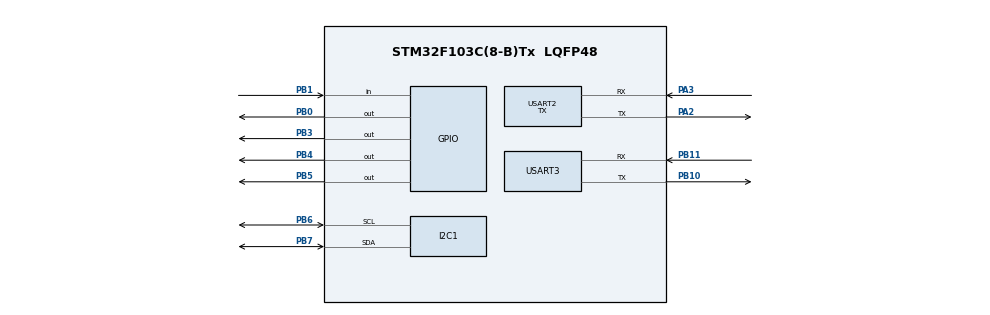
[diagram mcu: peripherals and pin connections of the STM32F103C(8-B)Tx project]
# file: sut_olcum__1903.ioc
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Mcu.Family=STM32F1
Mcu.Name=STM32F103C(8-B)Tx
Mcu.Package=LQFP48
NVIC.PriorityGroup=NVIC_PRIORITYGROUP_4
NVIC.USART3_IRQn=true\:0\:0\:false\:false\:true\:true\:true\:true
PA13.Mode=Serial_Wire
PA13.Signal=SYS_JTMS-SWDIO
PA14.Mode=Serial_Wire
PA14.Signal=SYS_JTCK-SWCLK
PA2.Mode=Asynchronous
PA2.Signal=USART2_TX
PA3.Mode=Asynchronous
PA3.Signal=USART2_RX
PB0.Signal=GPIO_Output
PB1.GPIO_Mode=GPIO_MODE_INPUT
PB1.GPIO_PuPd=GPIO_PULLDOWN
PB1.Signal=GPIO_Input
PB10.Mode=Asynchronous
PB10.Signal=USART3_TX
PB11.Mode=Asynchronous
PB11.Signal=USART3_RX
PB3.Signal=GPIO_Output
PB4.Signal=GPIO_Output
PB5.Signal=GPIO_Output
PB6.Mode=I2C
PB6.Signal=I2C1_SCL
PB7.Mode=I2C
PB7.Signal=I2C1_SDA
PD0-OSC_IN.Mode=HSE-External-Oscillator
PD0-OSC_IN.Signal=RCC_OSC_IN
PD1-OSC_OUT.Mode=HSE-External-Oscillator
PD1-OSC_OUT.Signal=RCC_OSC_OUT
ProjectManager.HeapSize=0x200
ProjectManager.StackSize=0x400
ProjectManager.TargetToolchain=STM32CubeIDE
RCC.APB1Freq_Value=8000000
RCC.APB2Freq_Value=8000000
USART2.Mode=MODE_TX
USART2.VirtualMode=VM_ASYNC
USART3.VirtualMode=VM_ASYNC
board=custom

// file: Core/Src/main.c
/* USER CODE BEGIN Header */
/**
  ******************************************************************************
  * @file           : main.c
  * @brief          : Main program body
  ******************************************************************************
  * @attention
  *
  * Copyright (c) 2025 STMicroelectronics.
  * All rights reserved.
  *
  * This software is licensed under terms that can be found in the LICENSE file
  * in the root directory of this software component.
  * If no LICENSE file comes with this software, it is provided AS-IS.
  *
  ******************************************************************************
  */
/* USER CODE END Header */
#include "main.h"

/* USER CODE BEGIN Includes */
#include "i2c_lcd.h"
#include "stdio.h"
#include <string.h>
/* USER CODE END Includes */

/* USER CODE BEGIN PTD */

typedef enum{
	LOW,
	HIGH
}POL_t;

typedef enum{
	False,
	True
}BOOL_t;

uint8_t RxBufTemp[2]; //uart gelen byte
uint8_t RxBuf[30]; //rfid anten gelen eid
uint8_t RxIndex=0; //uart index
uint8_t CalibrateIndex=0; //calibre verisi index
uint8_t PcReq[2]; //pc sorgusu
char kupebuffer[14];
/* USER CODE END PTD */

I2C_HandleTypeDef hi2c1;

UART_HandleTypeDef huart2;
UART_HandleTypeDef huart3;

/* USER CODE BEGIN PV */
I2C_LCD_HandleTypeDef lcd1;
/* USER CODE END PV */

void SystemClock_Config(void);
static void MX_GPIO_Init(void);
static void MX_I2C1_Init(void);
static void MX_USART2_UART_Init(void);
static void MX_USART3_UART_Init(void);
/* USER CODE BEGIN PFP */
void HAL_UART_RxCpltCallback(UART_HandleTypeDef *huart)
{

        if(huart == &huart3)
        {
        	RxBuf[RxIndex]=RxBufTemp[0];
        			HAL_UART_Receive_IT(&huart3, RxBufTemp, 1); //interrupt yeniden aktif edildi
        			if(RxIndex>0 && RxBuf[RxIndex]==35 && RxBuf[RxIndex-1]==119)
        			{
        				RxBuf[RxIndex]=0;
        				RxBuf[RxIndex-1]=0;
        				RxBuf[0]=119;
        				RxBuf[1]=35;
        				RxIndex=2;
        				return;
        			}
        			RxIndex++;
	}
}
/* USER CODE END PFP */

int main(void)
{

  /* USER CODE BEGIN 1 */

	  uint8_t sensorDurumu = 0;
	  uint8_t oncekiSensorDurumu = 0;
	  unsigned long baslangicZamani = 0; // Su akışı başladığında zamanı kaydet
	  int suAktigiSure = 0;    // Su akışı olduğu süre boyunca geçen süre
	  int16_t toplamSure = 0;      // İlk su akışı başladığı andan itibaren geçen toplam süre
	  float kalibrasyon = 57;
	  uint8_t suAkiyor = 0;
	  int toplamSuMiktari = 0;
	  uint8_t ilkSuBasladi = 0; // İlk su akışı başladı mı?
	  unsigned long ilkSuBaslangicZamani = 0;
	  char buffer[50];
//	  uint16_t serialData[2];

  /* USER CODE END 1 */

  /* MCU Configuration--------------------------------------------------------*/

  /* Reset of all peripherals, Initializes the Flash interface and the Systick. */
  HAL_Init();

  /* Configure the system clock */
  SystemClock_Config();

  /* Initialize all configured peripherals */
  MX_GPIO_Init();
  MX_I2C1_Init();
  MX_USART2_UART_Init();
  MX_USART3_UART_Init();
  HAL_UART_Receive_IT(&huart3, RxBufTemp, 1);
  /* USER CODE BEGIN 2 */

  lcd1.hi2c = &hi2c1;
  lcd1.address = 0x4E;
  /*  lcd_init(&lcd1);

  lcd_clear(&lcd1);
  lcd_gotoxy(&lcd1, 0, 0);
  lcd_puts(&lcd1, "Sistem basladi");
  lcd_gotoxy(&lcd1, 0, 1);
  lcd_puts(&lcd1,"Toplam : 0 ml");
  lcd_gotoxy(&lcd1, 0, 2);
  lcd_puts(&lcd1,"Kalibrasyon : ");
  sprintf(buffer,"%.2f", kalibrasyon);
  lcd_puts(&lcd1,buffer);
  lcd_gotoxy(&lcd1,0, 3);
  lcd_puts(&lcd1, "Zaman :     sn");
  HAL_Delay(100);
*/
  HAL_GPIO_WritePin(GPIOB, GPIO_PIN_5,LOW);
  HAL_GPIO_WritePin(GPIOB, GPIO_PIN_4,LOW);
  HAL_GPIO_WritePin(GPIOB, GPIO_PIN_3,HIGH);
  HAL_GPIO_WritePin(GPIOB, GPIO_PIN_0,LOW);
  /* USER CODE END 2 */

  /* Infinite loop */
  while (1)
  {

    /* USER CODE BEGIN 3 */

	  sensorDurumu = HAL_GPIO_ReadPin(GPIOB, GPIO_PIN_1);

	  if(( sensorDurumu == HIGH ) && ( oncekiSensorDurumu == LOW) ){
//		  lcd_clear(&lcd1);
//		  lcd_puts(&lcd1, "Su Geliyor...");
		  baslangicZamani = HAL_GetTick();
		  suAkiyor = True;

		  if (!ilkSuBasladi) {
			 ilkSuBasladi = True;
			 ilkSuBaslangicZamani = HAL_GetTick(); // İlk su akışı başladığı andaki zamanı kaydet
		   }

//		  lcd_clear(&lcd1);
//		  lcd_puts(&lcd1, "Su Geliyor...");
//		  HAL_Delay(50);
		  HAL_GPIO_WritePin(GPIOB, GPIO_PIN_5,LOW);
		  HAL_GPIO_WritePin(GPIOB, GPIO_PIN_4,HIGH);
		  HAL_GPIO_WritePin(GPIOB, GPIO_PIN_3,LOW);
		  HAL_GPIO_WritePin(GPIOB, GPIO_PIN_0,LOW);
		  HAL_Delay(50);
		}

	  if (sensorDurumu == LOW && oncekiSensorDurumu == HIGH) {
	    if (suAkiyor) {
	      suAktigiSure += (HAL_GetTick() - baslangicZamani) / 1000; // Su akış süresini güncelle
	      HAL_Delay(50);

		  HAL_GPIO_WritePin(GPIOB, GPIO_PIN_5,HIGH);
		  HAL_GPIO_WritePin(GPIOB, GPIO_PIN_4,LOW);
		  HAL_GPIO_WritePin(GPIOB, GPIO_PIN_3,LOW);
		  HAL_GPIO_WritePin(GPIOB, GPIO_PIN_0,HIGH);
		  HAL_Delay(50);

	      unsigned long suMiktari = ((HAL_GetTick() - baslangicZamani) / 1000) * kalibrasyon;
	      toplamSuMiktari += suMiktari;

//		  UART SPESIFIK VERI OZELLIKLERI

//	      huart2.Instance = USART2;
//	      huart2.Init.BaudRate = 115200;
//	      huart2.Init.WordLength = UART_WORDLENGTH_8B;
//	      huart2.Init.StopBits = UART_STOPBITS_1;
//	      huart2.Init.Parity = UART_PARITY_NONE;
//	      huart2.Init.Mode = UART_MODE_TX_RX; // Hem TX hem RX aktif
//	      Alternatif: Binary Veri Gönderme
//	      uint8_t serialBuffer[4];
//	      serialBuffer[0] = (toplamSuMiktari >> 8) & 0xFF; // High byte
//	      serialBuffer[1] = toplamSuMiktari & 0xFF;        // Low byte
//	      serialBuffer[2] = (suAktigiSure >> 8) & 0xFF;    // High byte
//	      serialBuffer[3] = suAktigiSure & 0xFF;           // Low byte
//	      HAL_UART_Transmit(&huart2, serialBuffer, 4, HAL_MAX_DELAY);

	      char serialBuffer[50];

	      kupebuffer[0]= RxBuf[0];
	      kupebuffer[1]= RxBuf[1];
	      kupebuffer[2]= RxBuf[2];
	      kupebuffer[3]= RxBuf[3];
	      kupebuffer[4]= RxBuf[4];
	      kupebuffer[5]= RxBuf[5];
	      kupebuffer[6]= RxBuf[6];
	      kupebuffer[7]= RxBuf[7];
	      kupebuffer[8]= RxBuf[8];
	      kupebuffer[9]= RxBuf[9];
	      kupebuffer[10]= RxBuf[10];
	      kupebuffer[11]= RxBuf[11];
	      kupebuffer[12]= RxBuf[12];
	      kupebuffer[13]= RxBuf[13];

	      HAL_Delay(50);

//	      for(int i = 0; i < 14; i++) {
//	          kupebuffer[i] = RxBuf[i];
//	      }

	      // RxBuf'ın ilk 14 byte'ını temizle
//	      for(int i = 0; i < 14; i++) {
//	          RxBuf[i] = 0;
//	      }

	      // Veya daha kısa yolu:
//	      memcpy(kupebuffer, RxBuf, 14); // Kopyalama
//	      memset(RxBuf, 0, 14);          // Temizleme

	      sprintf(serialBuffer,
	          "Toplam: %d ml, Sure: %d sn,\nRFID: "
	          "%02X %02X %02X %02X %02X %02X %02X %02X %02X %02X %02X %02X %02X %02X\r\n",
	          toplamSuMiktari, suAktigiSure,
	          kupebuffer[0], kupebuffer[1], kupebuffer[2], kupebuffer[3],
	          kupebuffer[4], kupebuffer[5], kupebuffer[6], kupebuffer[7],
	          kupebuffer[8], kupebuffer[9], kupebuffer[10], kupebuffer[11],
	          kupebuffer[12], kupebuffer[13]);
	      if (HAL_UART_Transmit(&huart2, (uint8_t*)serialBuffer, strlen(serialBuffer), HAL_MAX_DELAY) != HAL_OK) {
	          Error_Handler();
		      HAL_Delay(50);
	      }
//	         lcd_clear(&lcd1);
/*	      lcd_gotoxy(&lcd1, 0, 0);
	      lcd_puts(&lcd1, "Su durdu..... ");
	      lcd_gotoxy(&lcd1,9,1);
//	      lcd_puts(&lcd1,"Toplam : ");
	      sprintf(buffer,"%d",toplamSuMiktari);
	      lcd_gotoxy(&lcd1, 15, 2);
	      sprintf(buffer,"%.2f", kalibrasyon);
	      lcd_puts(&lcd1 ,buffer);
*/
	      suAkiyor = False;
	    }
	  }

	  if (suAkiyor) {
	    // Su akışı devam ederken geçen süreyi hesapla
	    int anlikSuAktigiSure = (HAL_GetTick()- baslangicZamani) / 1000;
	    unsigned long anlikSuMiktari = anlikSuAktigiSure * kalibrasyon;
	    int toplamSu = toplamSuMiktari + anlikSuMiktari;
	    /*
	    lcd_gotoxy(&lcd1 ,0, 1);
	    lcd_puts(&lcd1 ,"Toplam : ");
	    HAL_Delay(50);
	    sprintf(buffer,"%d",toplamSu);
	    lcd_puts(&lcd1 ,buffer);
	   // sprintf()
	    lcd_puts(&lcd1 ," ml  ");

	    // Su akışı sırasında X değerini güncelle
	    lcd_gotoxy(&lcd1 ,0, 3);
	    lcd_puts(&lcd1 ,"Zaman : ");
	    sprintf(buffer,"%d",suAktigiSure + anlikSuAktigiSure);
	    lcd_puts(&lcd1 ,buffer); // X değeri (su akış süresi)
	    lcd_puts(&lcd1 ," / ");
	    sprintf(buffer,"%d",toplamSure);
	    lcd_puts(&lcd1 ,buffer); // Y değeri (toplam süre)
	    lcd_puts(&lcd1 ," sn  ");
	    */
	  }

	  // İlk su akışı başladıysa toplam süreyi hesapla
	  if (ilkSuBasladi) {
	    toplamSure = ((HAL_GetTick()) - ilkSuBaslangicZamani) / 1000;
	  }

	  // Su akışı olmadığında da X ve Y değerlerini güncelle
	  if (!suAkiyor) {

	//	lcd_clear(&lcd1);
//		lcd_gotoxy(&lcd1 ,0, 3);
//		lcd_puts(&lcd1 ,"Zaman : ");
		//lcd_puts(&lcd1 ,(suAktigiSure + anlikSuAktigiSure)); // X değeri (su akış süresi)
//		lcd_puts(&lcd1 ," / ");
/*		lcd_gotoxy(&lcd1 ,12, 3);
		sprintf(buffer,"%d",toplamSure);
		lcd_puts(&lcd1 ,buffer); // Y değeri (toplam süre)
//		lcd_puts(&lcd1 ," sn  ");
 */
	  }

	  oncekiSensorDurumu = sensorDurumu;
	  HAL_Delay(50);

  }
  /* USER CODE END 3 */
}

void SystemClock_Config(void)
{
  RCC_OscInitTypeDef RCC_OscInitStruct = {0};
  RCC_ClkInitTypeDef RCC_ClkInitStruct = {0};

  /** Initializes the RCC Oscillators according to the specified parameters
  * in the RCC_OscInitTypeDef structure.
  */
  RCC_OscInitStruct.OscillatorType = RCC_OSCILLATORTYPE_HSI;
  RCC_OscInitStruct.HSIState = RCC_HSI_ON;
  RCC_OscInitStruct.HSICalibrationValue = RCC_HSICALIBRATION_DEFAULT;
  RCC_OscInitStruct.PLL.PLLState = RCC_PLL_NONE;
  if (HAL_RCC_OscConfig(&RCC_OscInitStruct) != HAL_OK)
  {
    Error_Handler();
  }

  /** Initializes the CPU, AHB and APB buses clocks
  */
  RCC_ClkInitStruct.ClockType = RCC_CLOCKTYPE_HCLK|RCC_CLOCKTYPE_SYSCLK
                              |RCC_CLOCKTYPE_PCLK1|RCC_CLOCKTYPE_PCLK2;
  RCC_ClkInitStruct.SYSCLKSource = RCC_SYSCLKSOURCE_HSI;
  RCC_ClkInitStruct.AHBCLKDivider = RCC_SYSCLK_DIV1;
  RCC_ClkInitStruct.APB1CLKDivider = RCC_HCLK_DIV1;
  RCC_ClkInitStruct.APB2CLKDivider = RCC_HCLK_DIV1;

  if (HAL_RCC_ClockConfig(&RCC_ClkInitStruct, FLASH_LATENCY_0) != HAL_OK)
  {
    Error_Handler();
  }
}

static void MX_I2C1_Init(void)
{

  hi2c1.Instance = I2C1;
  hi2c1.Init.ClockSpeed = 100000;
  hi2c1.Init.DutyCycle = I2C_DUTYCYCLE_2;
  hi2c1.Init.OwnAddress1 = 0;
  hi2c1.Init.AddressingMode = I2C_ADDRESSINGMODE_7BIT;
  hi2c1.Init.DualAddressMode = I2C_DUALADDRESS_DISABLE;
  hi2c1.Init.OwnAddress2 = 0;
  hi2c1.Init.GeneralCallMode = I2C_GENERALCALL_DISABLE;
  hi2c1.Init.NoStretchMode = I2C_NOSTRETCH_DISABLE;
  if (HAL_I2C_Init(&hi2c1) != HAL_OK)
  {
    Error_Handler();
  }

}

static void MX_USART2_UART_Init(void)
{

  huart2.Instance = USART2;
  huart2.Init.BaudRate = 115200;
  huart2.Init.WordLength = UART_WORDLENGTH_8B;
  huart2.Init.StopBits = UART_STOPBITS_1;
  huart2.Init.Parity = UART_PARITY_NONE;
  huart2.Init.Mode = UART_MODE_TX;
  huart2.Init.HwFlowCtl = UART_HWCONTROL_NONE;
  huart2.Init.OverSampling = UART_OVERSAMPLING_16;
  if (HAL_UART_Init(&huart2) != HAL_OK)
  {
    Error_Handler();
  }

}

static void MX_USART3_UART_Init(void)
{

  huart3.Instance = USART3;
  huart3.Init.BaudRate = 115200;
  huart3.Init.WordLength = UART_WORDLENGTH_8B;
  huart3.Init.StopBits = UART_STOPBITS_1;
  huart3.Init.Parity = UART_PARITY_NONE;
  huart3.Init.Mode = UART_MODE_TX_RX;
  huart3.Init.HwFlowCtl = UART_HWCONTROL_NONE;
  huart3.Init.OverSampling = UART_OVERSAMPLING_16;
  if (HAL_UART_Init(&huart3) != HAL_OK)
  {
    Error_Handler();
  }

}

static void MX_GPIO_Init(void)
{
  GPIO_InitTypeDef GPIO_InitStruct = {0};

  /* GPIO Ports Clock Enable */
  __HAL_RCC_GPIOD_CLK_ENABLE();
  __HAL_RCC_GPIOA_CLK_ENABLE();
  __HAL_RCC_GPIOB_CLK_ENABLE();

  /*Configure GPIO pin Output Level */
  HAL_GPIO_WritePin(GPIOB, GPIO_PIN_0|GPIO_PIN_3|GPIO_PIN_4|GPIO_PIN_5, GPIO_PIN_RESET);

  /*Configure GPIO pins : PB0 PB3 PB4 PB5 */
  GPIO_InitStruct.Pin = GPIO_PIN_0|GPIO_PIN_3|GPIO_PIN_4|GPIO_PIN_5;
  GPIO_InitStruct.Mode = GPIO_MODE_OUTPUT_PP;
  GPIO_InitStruct.Pull = GPIO_NOPULL;
  GPIO_InitStruct.Speed = GPIO_SPEED_FREQ_LOW;
  HAL_GPIO_Init(GPIOB, &GPIO_InitStruct);

  /*Configure GPIO pin : PB1 */
  GPIO_InitStruct.Pin = GPIO_PIN_1;
  GPIO_InitStruct.Mode = GPIO_MODE_INPUT;
  GPIO_InitStruct.Pull = GPIO_PULLDOWN;
  HAL_GPIO_Init(GPIOB, &GPIO_InitStruct);

}

void Error_Handler(void)
{
  __disable_irq();
  while (1)
  {
  }
}
